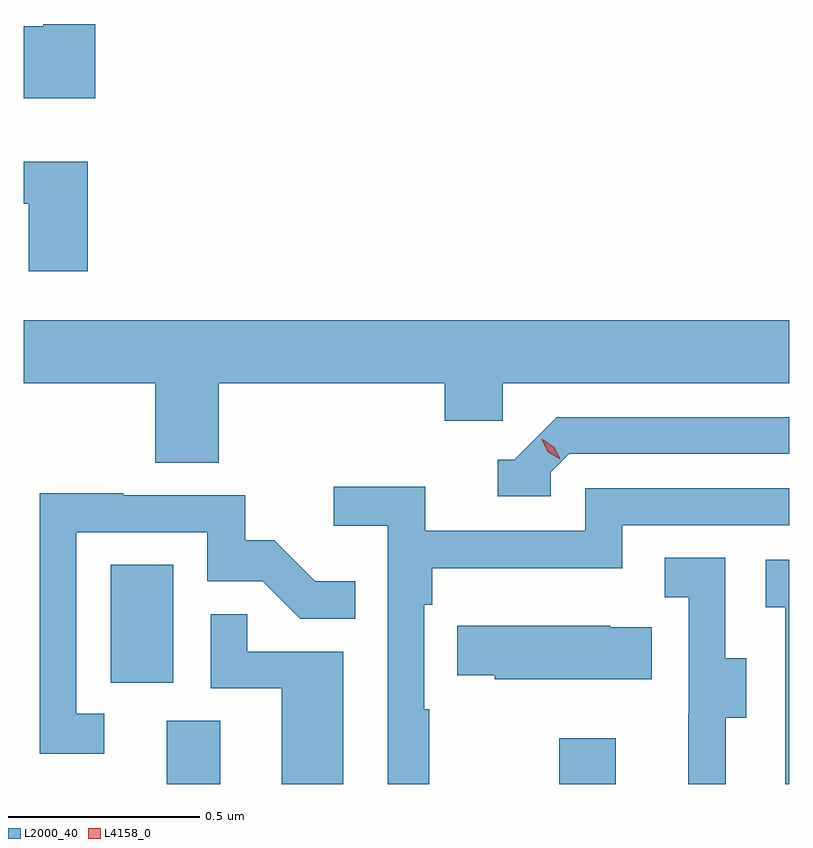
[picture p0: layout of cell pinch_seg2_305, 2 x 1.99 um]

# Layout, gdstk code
import gdstk
lib = gdstk.Library(unit=1e-6, precision=1e-09)
def R(c, l, rs):  # rectangles x0, y0, x1, y1
    for r in rs: c.add(gdstk.rectangle(r[:2], r[2:], *l))
def P(c, l, *ps):  # polygons
    for p in ps: c.add(gdstk.Polygon(p, *l))
L2000_40 = (2000, 40)
L4158_0 = (4158, 0)

pinch_seg2_305 = lib.new_cell('pinch_seg2_305')
R(pinch_seg2_305, L2000_40, [(912.941,641.261,913.081,641.426), (913.966,641.261,914.113,641.38), (912.794,641.526,912.958,641.833)])
P(pinch_seg2_305, L2000_40, [(912.754,643.246),(912.618,643.246),(912.618,643.24),(912.567,643.24),(912.567,643.052),(912.754,643.052)],
  [(912.734,642.886),(912.567,642.886),(912.567,642.777),(912.581,642.777),(912.581,642.6),(912.734,642.6)],
  [(913.076,642.308),(913.667,642.308),(913.667,642.21),(913.818,642.21),(913.818,642.308),(914.567,642.308),(914.567,642.472),(912.567,642.472),(912.567,642.308),(912.911,642.308),(912.911,642.1),(913.076,642.1)],
  [(913.944,642.075),(913.992,642.123),(914.567,642.123),(914.567,642.219),(913.959,642.219),(913.848,642.108),(913.805,642.108),(913.805,642.012),(913.944,642.012)],
  [(913.627,641.456),(913.614,641.456),(913.614,641.729),(913.634,641.729),(913.634,641.825),(914.13,641.825),(914.13,641.937),(914.567,641.937),(914.567,642.033),(914.034,642.033),(914.034,641.922),(913.616,641.922),(913.616,642.038),(913.377,642.038),(913.377,641.936),(913.518,641.936),(913.518,641.261),(913.627,641.261)],
  [(912.778,641.445),(912.705,641.445),(912.705,641.919),(913.047,641.919),(913.047,641.79),(913.192,641.79),(913.29,641.692),(913.433,641.692),(913.433,641.791),(913.329,641.791),(913.222,641.898),(913.146,641.898),(913.146,642.015),(912.827,642.015),(912.827,642.02),(912.609,642.02),(912.609,641.34),(912.778,641.34)],
  [(914.401,641.434),(914.455,641.434),(914.455,641.589),(914.4,641.589),(914.4,641.852),(914.241,641.852),(914.241,641.749),(914.304,641.749),(914.304,641.445),(914.303,641.445),(914.303,641.261),(914.401,641.261)],
  [(914.567,641.847),(914.505,641.847),(914.505,641.723),(914.556,641.723),(914.556,641.261),(914.567,641.261)],
  [(913.402,641.607),(913.151,641.607),(913.151,641.705),(913.056,641.705),(913.056,641.511),(913.241,641.511),(913.241,641.261),(913.402,641.261)],
  [(914.207,641.671),(914.099,641.671),(914.099,641.674),(913.699,641.674),(913.699,641.545),(913.797,641.545),(913.797,641.534),(914.207,641.534)])
P(pinch_seg2_305, L4158_0, [(913.968,642.109),(913.937,642.128),(913.92,642.16),(913.92,642.161),(913.921,642.161),(913.952,642.142),(913.968,642.11),(913.968,642.109)])

lib.write_gds('pinch_seg2_305.gds')
